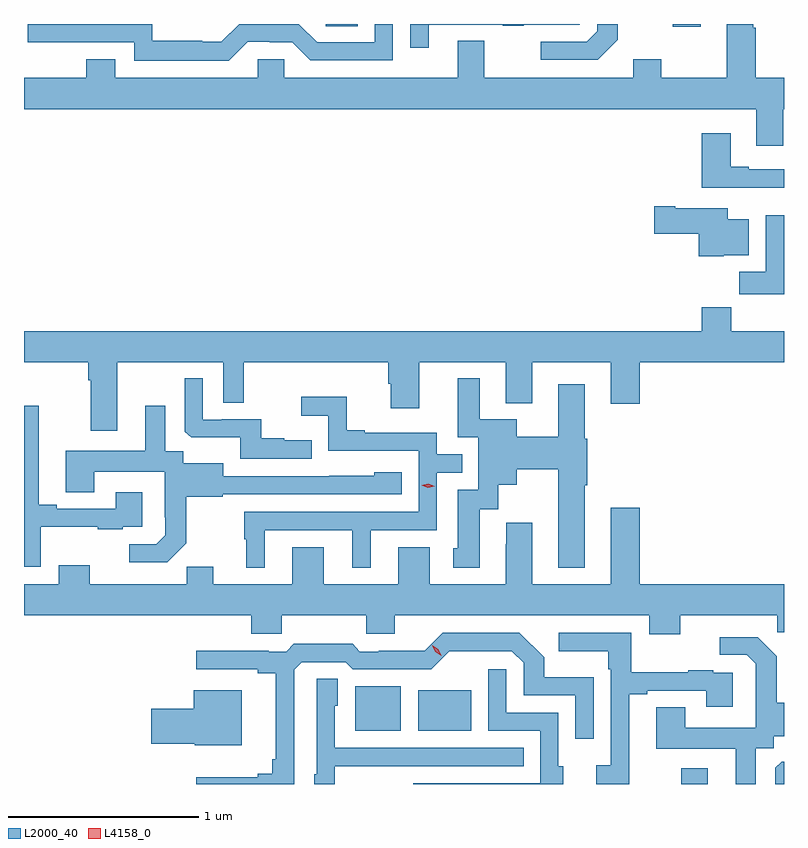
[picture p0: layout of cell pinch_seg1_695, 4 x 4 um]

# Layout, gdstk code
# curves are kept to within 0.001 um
import gdstk
lib = gdstk.Library(unit=1e-6, precision=1e-09)
def R(c, l, rs):  # rectangles x0, y0, x1, y1
    for r in rs: c.add(gdstk.rectangle(r[:2], r[2:], *l))
def P(c, l, *ps):  # polygons
    for p in ps: c.add(gdstk.Polygon(p, *l))
L2000_40 = (2000, 40)
L4158_0 = (4158, 0)

pinch_seg1_695 = lib.new_cell('pinch_seg1_695')
R(pinch_seg1_695, L2000_40, [(756.887,574.82,757.027,574.903), (755.171,575.099,755.41,575.335), (755.504,575.099,755.782,575.314), (756.843,578.805,756.991,578.82), (755.016,578.809,755.184,578.82)])
P(pinch_seg1_695, L2000_40, [(754.605,578.727),(754.721,578.727),(754.721,578.724),(754.839,578.724),(754.935,578.628),(755.37,578.628),(755.37,578.82),(755.274,578.82),(755.274,578.724),(754.971,578.724),(754.875,578.82),(754.56,578.82),(754.467,578.727),(754.367,578.727),(754.367,578.731),(754.104,578.731),(754.104,578.82),(753.447,578.82),(753.447,578.724),(754.008,578.724),(754.008,578.627),(754.505,578.627)],
  [(757.423,578.372),(757.428,578.372),(757.428,578.536),(757.28,578.536),(757.28,578.801),(757.267,578.801),(757.267,578.82),(757.127,578.82),(757.127,578.536),(756.783,578.536),(756.783,578.635),(756.635,578.635),(756.635,578.536),(755.851,578.536),(755.851,578.731),(755.711,578.731),(755.711,578.536),(754.797,578.536),(754.797,578.634),(754.659,578.634),(754.659,578.536),(753.907,578.536),(753.907,578.635),(753.755,578.635),(753.755,578.536),(753.428,578.536),(753.428,578.372),(757.283,578.372),(757.283,578.178),(757.423,578.178)],
  [(756.553,578.737),(756.553,578.82),(756.444,578.82),(756.444,578.781),(756.39,578.727),(756.147,578.727),(756.147,578.631),(756.447,578.631)],
  [(755.557,578.817),(755.947,578.817),(755.947,578.812),(756.059,578.812),(756.059,578.817),(756.354,578.817),(756.354,578.82),(755.461,578.82),(755.461,578.694),(755.557,578.694)],
  [(757.428,578.055),(757.243,578.055),(757.243,578.068),(757.147,578.068),(757.147,578.245),(756.995,578.245),(756.995,577.958),(757.428,577.958)],
  [(757.11,577.604),(757.243,577.604),(757.243,577.792),(757.132,577.792),(757.132,577.849),(756.856,577.849),(756.856,577.862),(756.744,577.862),(756.744,577.715),(756.98,577.715),(756.98,577.598),(757.11,577.598)],
  [(757.428,577.813),(757.331,577.813),(757.331,577.516),(757.192,577.516),(757.192,577.398),(757.428,577.398)],
  [(753.428,577.04),(753.767,577.04),(753.767,576.944),(753.779,576.944),(753.779,576.678),(753.919,576.678),(753.919,577.04),(754.476,577.04),(754.476,576.826),(754.585,576.826),(754.585,577.04),(755.345,577.04),(755.345,576.927),(755.357,576.927),(755.357,576.798),(755.509,576.798),(755.509,577.04),(755.963,577.04),(755.963,576.824),(756.103,576.824),(756.103,577.04),(756.515,577.04),(756.515,576.822),(756.668,576.822),(756.668,577.04),(757.428,577.04),(757.428,577.204),(757.151,577.204),(757.151,577.328),(756.995,577.328),(756.995,577.204),(753.428,577.204)],
  [(756.379,576.392),(756.392,576.392),(756.392,576.636),(756.379,576.636),(756.379,576.925),(756.239,576.925),(756.239,576.648),(756.022,576.648),(756.022,576.739),(755.827,576.739),(755.827,576.955),(755.711,576.955),(755.711,576.645),(755.82,576.645),(755.82,576.369),(755.711,576.369),(755.711,576.06),(755.687,576.06),(755.687,575.958),(755.827,575.958),(755.827,576.266),(755.925,576.266),(755.925,576.395),(756.022,576.395),(756.022,576.476),(756.239,576.476),(756.239,575.957),(756.379,575.957)],
  [(754.943,576.628),(754.799,576.628),(754.799,576.64),(754.676,576.64),(754.676,576.741),(754.468,576.741),(754.468,576.738),(754.368,576.738),(754.368,576.955),(754.275,576.955),(754.275,576.675),(754.307,576.644),(754.566,576.644),(754.566,576.531),(754.943,576.531)],
  [(754.696,576.156),(755.156,576.156),(755.156,575.957),(755.254,575.957),(755.254,576.156),(755.601,576.156),(755.601,576.459),(755.734,576.459),(755.734,576.555),(755.601,576.555),(755.601,576.669),(755.221,576.669),(755.221,576.682),(755.127,576.682),(755.127,576.857),(754.887,576.857),(754.887,576.758),(755.028,576.758),(755.028,576.573),(755.505,576.573),(755.505,576.252),(754.587,576.252),(754.587,576.108),(754.598,576.108),(754.598,575.957),(754.696,575.957)],
  [(754.281,576.087),(754.281,576.333),(754.473,576.333),(754.473,576.345),(755.416,576.345),(755.416,576.46),(755.271,576.46),(755.271,576.442),(754.477,576.441),(754.477,576.508),(754.266,576.508),(754.266,576.572),(754.171,576.572),(754.171,576.811),(754.067,576.811),(754.067,576.574),(753.647,576.574),(753.647,576.355),(753.799,576.355),(753.799,576.464),(754.17,576.464),(754.17,576.223),(754.172,576.223),(754.172,576.128),(754.125,576.081),(753.981,576.081),(753.981,575.987),(754.181,575.987)],
  [(753.517,576.173),(753.815,576.173),(753.815,576.162),(753.947,576.162),(753.947,576.174),(754.051,576.174),(754.051,576.355),(753.911,576.355),(753.911,576.27),(753.601,576.27),(753.601,576.289),(753.505,576.289),(753.505,576.811),(753.428,576.811),(753.428,575.964),(753.517,575.964)],
  [(756.719,575.609),(756.883,575.609),(756.883,575.708),(757.393,575.708),(757.393,575.618),(757.428,575.618),(757.428,575.872),(756.668,575.872),(756.668,576.274),(756.515,576.274),(756.515,575.872),(756.103,575.872),(756.103,576.196),(755.966,576.196),(755.966,576.083),(755.963,576.083),(755.963,575.872),(755.563,575.872),(755.563,576.067),(755.399,576.067),(755.399,575.872),(755.005,575.872),(755.005,576.067),(754.841,576.067),(754.841,575.872),(754.423,575.872),(754.423,575.963),(754.285,575.963),(754.285,575.872),(753.775,575.872),(753.775,575.971),(753.611,575.971),(753.611,575.872),(753.428,575.872),(753.428,575.708),(754.625,575.708),(754.625,575.61),(754.785,575.61),(754.785,575.708),(755.23,575.708),(755.23,575.61),(755.38,575.61),(755.38,575.708),(756.719,575.708)],
  [(754.851,575.421),(754.89,575.46),(755.121,575.46),(755.157,575.424),(755.571,575.424),(755.666,575.519),(755.994,575.52),(756.057,575.457),(756.057,575.286),(756.33,575.286),(756.33,575.058),(756.426,575.058),(756.426,575.383),(756.165,575.383),(756.165,575.486),(756.034,575.616),(755.631,575.616),(755.537,575.522),(755.296,575.522),(755.296,575.517),(755.196,575.517),(755.157,575.557),(754.849,575.557),(754.809,575.517),(754.715,575.517),(754.715,575.522),(754.335,575.522),(754.335,575.424),(754.658,575.424),(754.658,575.402),(754.754,575.402),(754.754,574.951),(754.735,574.951),(754.735,574.874),(754.658,574.874),(754.658,574.855),(754.335,574.855),(754.335,574.82),(754.851,574.82)],
  [(756.613,575.292),(756.709,575.292),(756.709,575.31),(757.019,575.31),(757.019,575.226),(757.159,575.226),(757.159,575.406),(757.055,575.406),(757.055,575.419),(756.923,575.419),(756.923,575.408),(756.625,575.408),(756.625,575.616),(756.243,575.616),(756.243,575.519),(756.504,575.519),(756.504,575.423),(756.516,575.423),(756.516,574.918),(756.441,574.918),(756.441,574.82),(756.613,574.82)],
  [(757.279,575.008),(757.374,575.008),(757.374,575.072),(757.428,575.072),(757.428,575.248),(757.389,575.248),(757.389,575.493),(757.289,575.593),(757.089,575.593),(757.089,575.499),(757.233,575.499),(757.28,575.452),(757.28,575.357),(757.278,575.357),(757.278,575.116),(756.907,575.116),(756.907,575.225),(756.755,575.225),(756.755,575.006),(757.175,575.006),(757.175,574.82),(757.279,574.82)],
  [(756.265,574.914),(756.24,574.914),(756.24,575.196),(755.967,575.196),(755.967,575.425),(755.871,575.425),(755.871,575.1),(756.144,575.1),(756.144,574.824),(755.477,574.824),(755.477,574.82),(756.265,574.82)],
  [(755.064,574.913),(755.381,574.913),(755.381,574.914),(756.059,574.914),(756.059,575.01),(755.064,575.01),(755.064,575.232),(755.08,575.232),(755.08,575.375),(754.968,575.375),(754.968,574.872),(754.955,574.872),(754.955,574.82),(755.064,574.82)],
  [(754.573,575.314),(754.322,575.314),(754.322,575.216),(754.098,575.216),(754.098,575.033),(754.326,575.033),(754.326,575.024),(754.573,575.024)],
  [(757.428,574.937),(757.415,574.937),(757.383,574.905),(757.383,574.82),(757.428,574.82)])
P(pinch_seg1_695, L4158_0, [(755.624,575.494),(755.593,575.515),(755.577,575.548),(755.577,575.549),(755.577,575.549),(755.608,575.528),(755.624,575.494),(755.624,575.494)],
  [(755.554,576.379),(755.521,576.392),(755.521,576.392),(755.521,576.392),(755.556,576.399),(755.589,576.387),(755.59,576.387),(755.589,576.386)])

lib.write_gds('pinch_seg1_695.gds')
